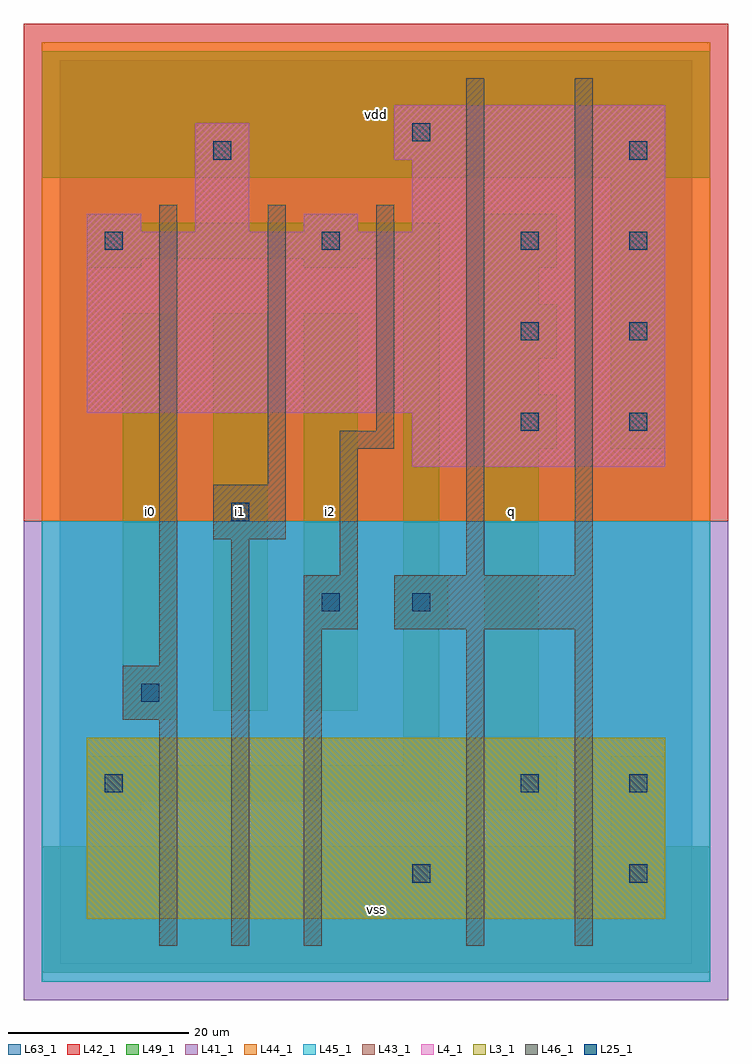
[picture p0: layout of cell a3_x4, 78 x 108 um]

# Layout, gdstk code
import gdstk
lib = gdstk.Library(unit=1e-6, precision=1e-09)
def R(c, l, rs):  # rectangles x0, y0, x1, y1
    for r in rs: c.add(gdstk.rectangle(r[:2], r[2:], *l))
def A(c, l, x, y, w, h, nx, ny, dx, dy):  # array of equal rectangles
    R(c, l, [(x+i*dx, y+j*dy, x+i*dx+w, y+j*dy+h) for i in range(nx) for j in range(ny)])
L3_1 = (3, 1)
L4_1 = (4, 1)
L25_1 = (25, 1)
L41_1 = (41, 1)
L42_1 = (42, 1)
L43_1 = (43, 1)
L44_1 = (44, 1)
L45_1 = (45, 1)
L46_1 = (46, 1)
L49_1 = (49, 1)
L63_1 = (63, 1)

a3_x4 = lib.new_cell('a3_x4')
R(a3_x4, L3_1, [(3,5,67,25)])
R(a3_x4, L4_1, [(39,55,67,61), (3,61,67,81), (3,81,9,83), (15,81,21,93), (27,81,33,83), (39,81,67,89), (37,89,67,95)])
A(a3_x4, L25_1, 51, 59, 2, 2, 1, 3, 0, 10)
A(a3_x4, L25_1, 63, 59, 2, 2, 1, 4, 0, 10)
R(a3_x4, L25_1, [(39,9,41,11), (63,9,65,11), (5,19,7,21), (51,19,53,21), (63,19,65,21), (9,29,11,31), (29,39,31,41), (39,39,41,41), (19,49,21,51), (5,79,7,81), (29,79,31,81), (17,89,19,91), (39,91,41,93)])
R(a3_x4, L41_1, [(-4,-4,74,49)])
R(a3_x4, L42_1, [(-4,49,74,104)])
R(a3_x4, L43_1, [(3,5,67,25), (39,55,67,61), (3,61,67,81), (3,81,9,83), (15,81,21,93), (27,81,33,83), (39,81,67,89), (37,89,67,95)])
R(a3_x4, L44_1, [(-2,49,72,102)])
R(a3_x4, L45_1, [(-2,-2,72,49)])
R(a3_x4, L46_1, [(11,2,13,27), (19,2,21,47), (27,2,29,37), (45,2,47,37), (57,2,59,37), (7,27,13,33), (11,33,13,84), (27,37,33,43), (37,37,59,43), (31,43,33,57), (45,43,47,98), (57,43,59,98), (17,47,25,53), (23,53,25,84), (31,57,37,59), (35,59,37,84)])
A(a3_x4, L49_1, 47, 57, 8, 6, 1, 3, 0, 10)
R(a3_x4, L49_1, [(-2,-1,72,13), (61,13,67,23), (3,17,9,18), (47,17,55,23), (3,18,42,22), (3,22,9,23), (38,22,42,37), (47,23,53,57), (7,27,13,72), (17,28,23,72), (27,28,33,72), (37,37,43,43), (38,43,42,78), (61,57,67,87), (47,63,53,67), (47,73,53,77), (3,77,9,78), (27,77,33,78), (3,78,42,82), (3,82,9,83), (27,82,33,83), (-2,87,72,101)])
R(a3_x4, L63_1, [(0,0,70,100)])
a3_x4.add(gdstk.Label('i0', (10,50), layer=49, texttype=1))
a3_x4.add(gdstk.Label('i0', (10,50), layer=49, texttype=1))
a3_x4.add(gdstk.Label('i2', (30,50), layer=49, texttype=1))
a3_x4.add(gdstk.Label('i1', (20,50), layer=49, texttype=1))
a3_x4.add(gdstk.Label('i1', (20,50), layer=49, texttype=1))
a3_x4.add(gdstk.Label('i2', (30,50), layer=49, texttype=1))
a3_x4.add(gdstk.Label('vss', (35,6), layer=49, texttype=1))
a3_x4.add(gdstk.Label('vss', (35,6), layer=49, texttype=1))
a3_x4.add(gdstk.Label('q', (50,50), layer=49, texttype=1))
a3_x4.add(gdstk.Label('q', (50,50), layer=49, texttype=1))
a3_x4.add(gdstk.Label('vdd', (35,94), layer=49, texttype=1))
a3_x4.add(gdstk.Label('vdd', (35,94), layer=49, texttype=1))

lib.write_gds('a3_x4.gds')
